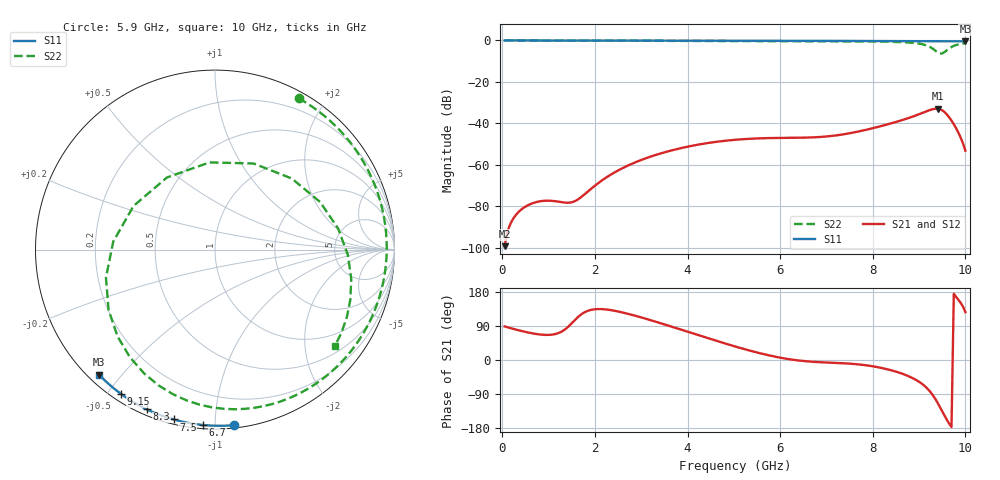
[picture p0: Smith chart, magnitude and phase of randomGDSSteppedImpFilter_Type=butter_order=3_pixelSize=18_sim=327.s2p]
! freq	dB(S11)	phase(S11)	dB(S12)	phase(S12)
!  dB(S21)	phase(S21)	dB(S22)	phase(S22)
!S-par simulation data
#  GHz  S  DB  R 50
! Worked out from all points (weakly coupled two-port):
!   200 points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, 50 MHz to 10 GHz, reference 50 ohm
!   highest |S21| = -32.91 dB at 9.4 GHz (marker M1); lowest = -99.2 dB at 50 MHz (marker M2)
!   lowest |S11| = -0.4 dB at 10 GHz (marker M3), VSWR 38.95, Z = 1.53 - j21.8 ohm
!   |S11| at or under -10 dB: nowhere
!   |S22| runs from -6.3 to 0.0 dB; largest |S21 - S12| = 0
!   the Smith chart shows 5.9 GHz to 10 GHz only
!   S11 on the Smith chart (normalised r, x): 5.9 GHz: 0.02, -1.11; 6.7 GHz: 0.02, -0.93; 7.5 GHz: 0.02, -0.79; 8.3 GHz: 0.02, -0.66; 9.15 GHz: 0.03, -0.54; 10 GHz: 0.03, -0.44
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0.05  -0.00 -0.8  -99.18 88.6  -99.18 88.6  -0.00 -2.6
1  -0.02 -15.2  -77.25 66.2  -77.25 66.2  -0.07 -51.9
1.45  -0.03 -22.0  -78.20 90.8  -78.20 90.8  -0.09 -74.6
1.75  -0.03 -26.5  -74.68 124.1  -74.68 124.1  -0.11 -89.5
2.5  -0.05 -37.5  -62.68 128.1  -62.68 128.1  -0.15 -126.1
3.4  -0.07 -50.4  -54.59 97.8  -54.59 97.8  -0.20 -169.7
4.2  -0.09 -61.6  -50.35 66.9  -50.35 66.9  -0.25 150.3
5.05  -0.11 -73.0  -47.85 34.9  -47.85 34.9  -0.29 106.1
5.9  -0.14 -84.0  -47.01 8.6  -47.01 8.6  -0.33 61.1
6.7  -0.18 -94.0  -46.73 -4.7  -46.73 -4.7  -0.36 20.2
7.5  -0.23 -103.7  -44.74 -9.6  -44.74 -9.6  -0.42 -18.0
8.3  -0.29 -113.2  -40.57 -24.0  -40.57 -24.0  -0.61 -56.1
8.35  -0.29 -113.8  -40.26 -25.6  -40.26 -25.6  -0.63 -58.7
8.85  -0.33 -119.6  -36.81 -47.1  -36.81 -47.1  -1.12 -91.1
9.15  -0.36 -123.0  -34.25 -71.9  -34.25 -71.9  -2.33 -128.2
9.3  -0.38 -124.7  -33.11 -93.3  -33.11 -93.3  -4.05 -165.6
9.4  -0.38 -125.9  -32.91 -113.0  -32.91 -113.0  -5.76 151.9
9.5  -0.39 -127.0  -33.70 -135.7  -33.70 -135.7  -6.25 93.6
9.55  -0.40 -127.6  -34.55 -147.1  -34.55 -147.1  -5.59 65.9
9.7  -0.41 -129.3  -38.65 -177.0  -38.65 -177.0  -3.14 9.7
9.8  -0.42 -130.5  -42.35 166.7  -42.35 166.7  -2.20 -12.1
10  -0.45 -132.8  -53.16 126.1  -53.16 126.1  -1.34 -38.7
